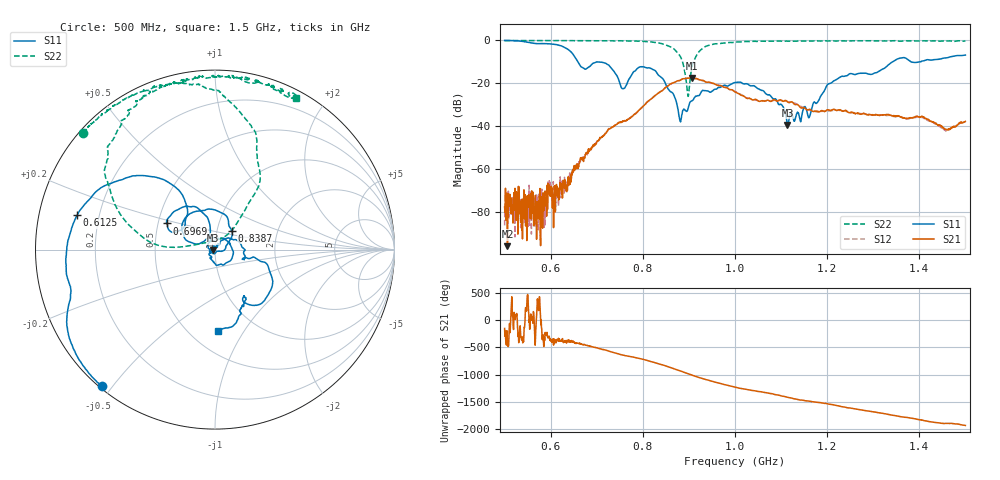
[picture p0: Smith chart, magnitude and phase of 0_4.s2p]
!Agilent Technologies,E8364B,US42250235,A.06.04.32
!Agilent E8364B: A.06.04.32
!Date: Friday, January 15, 2021 15:17:17
!Correction: S11(Full 2 Port(1,2)) S21(Full 2 Port(1,2)) S12(Full 2 Port(1,2)) S22(Full 2 Port(1,2))
!S2P File: Measurements: S11, S21, S12, S22:
# Hz S  dB  R 50
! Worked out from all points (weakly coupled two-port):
!   1601 points, 500 MHz to 1.5 GHz, reference 50 ohm
!   highest |S21| = -17.48 dB at 905.6 MHz (marker M1); lowest = -95.6 dB at 506.2 MHz (marker M2)
!   lowest |S11| = -39.3 dB at 1.114 GHz (marker M3), VSWR 1.02, Z = 49 - j0.326 ohm
!   |S11| at or under -10 dB: 659 MHz to 1.342 GHz (683.3 MHz wide, 68.3 % of centre); 1.382 GHz to 1.4 GHz (18.55 MHz wide, 1.33 % of centre)
!   |S22| runs from -26.1 to -0.1 dB; largest |S21 - S12| = 0.0087
!   S11 on the Smith chart (normalised r, x): 500 MHz: 0.01, -0.47; 612.5 MHz: 0.12, +0.12; 696.9 MHz: 0.56, +0.18; 838.8 MHz: 1.18, +0.25; 1.5 GHz: 0.68, -0.77
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5e8  -0.10 -129.7  -77.36 -149.3  -86.01 166.5  -0.15 138.4
5.0625e8  -0.12 -132.7  -95.64 -103.0  -82.17 -150.2  -0.16 137.9
5.675e8  -1.54 -163.4  -82.12 165.5  -79.88 -86.6  -0.18 132.4
5.96875e8  -1.66 179.5  -68.02 65.7  -64.88 30.1  -0.16 129.9
6.125e8  -2.02 166.1  -66.97 3.9  -69.97 10.8  -0.14 127.3
6.66875e8  -12.44 132.8  -54.60 -82.7  -54.85 -79.9  -0.19 121.7
6.96875e8  -10.30 151.6  -48.49 -139.6  -48.35 -140.3  -0.19 118.3
7.56875e8  -22.45 130.3  -37.70 78.2  -37.73 80.2  -0.30 110.3
7.93125e8  -12.42 136.1  -32.18 15.6  -32.17 16.9  -0.45 102.5
8.3375e8  -16.19 59.9  -24.50 -80.7  -24.55 -78.2  -1.18 87.6
8.3875e8  -17.00 48.8  -23.81 -93.6  -23.76 -90.8  -1.45 85.9
8.80625e8  -37.51 -44.8  -18.65 148.7  -18.57 150.8  -7.25 55.6
8.96875e8  -32.60 173.5  -17.69 99.0  -17.71 101.0  -24.33 70.6
9.05625e8  -28.26 165.7  -17.48 72.9  -17.58 74.7  -13.55 176.4
9.31875e8  -23.34 102.5  -18.78 -1.3  -19.01 2.2  -3.45 150.3
1e9  -19.65 -10.4  -24.01 -154.9  -23.73 -151.5  -0.89 122.0
1.07625e9  -25.60 -116.6  -28.33 88.8  -28.13 92.8  -0.41 108.4
1.11375e9  -39.32 -162.1  -28.53 18.8  -28.54 24.3  -0.41 104.2
1.166875e9  -31.52 58.8  -32.79 -62.4  -32.66 -58.7  -0.38 97.7
1.226875e9  -17.23 20.1  -32.43 -143.4  -32.59 -140.3  -0.28 90.5
1.33375e9  -11.27 -14.3  -34.61 60.7  -34.80 64.5  -0.31 79.3
1.5e9  -6.87 -88.0  -37.70 -140.4  -38.05 -143.8  -0.37 62.0
